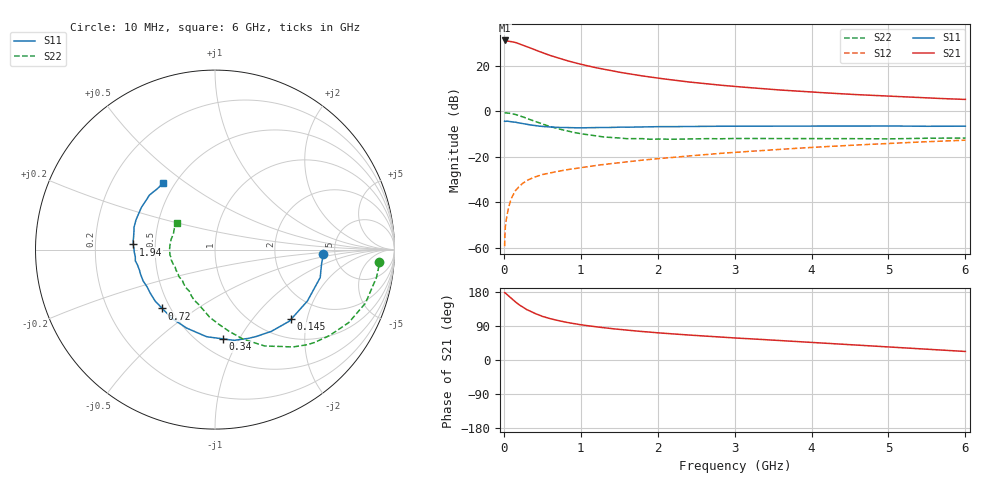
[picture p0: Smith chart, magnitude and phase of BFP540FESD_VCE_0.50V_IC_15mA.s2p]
! Infineon Technologies  Discrete & RF Semiconductors
! BFP540FESD
! VCE = 0.50 V,  IC =  15 mA
! Common Emitter S-Parameters:  Nov 2015
# GHz  S  MA  R  50
!  f  S11  S21  S12  S22
! GHz  MAG  ANG  MAG  ANG  MAG  ANG  MAG  ANG
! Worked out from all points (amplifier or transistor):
!   210 points, 10 MHz to 6 GHz, reference 50 ohm
!   highest |S21| = 31.0 dB at 10 MHz (marker M1)
!   |S21| within 3 dB of that: start of sweep to 321.9 MHz
!   unconditionally stable (mu >= 1): start of sweep to 11.43 MHz; 1.827 GHz to end of sweep
!   at 185 MHz: K = 0.26, MSG = 31.6 dB, |S12| = -33.6 dB
!   at 1.52 GHz: K = 0.94, MSG = 19.7 dB, |S12| = -22.5 dB
!   at 6 GHz: K = 1.16, MAG = 6.5 dB, |S12| = -12.7 dB
!   S11 on the Smith chart (normalised r, x): 10 MHz: 4.03, -0.32; 145 MHz: 1.39, -1.61; 340 MHz: 0.65, -0.86; 720 MHz: 0.45, -0.37; 1.94 GHz: 0.37, +0.03; 6 GHz: 0.43, +0.41
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0.01  0.6047 -2.4  35.56 178.0  0.0011 91.8  0.9186 -4.4
0.02  0.599 -7.6  34.67 176.6  0.003 87.5  0.9224 -3.6
0.05  0.6065 -14.9  34.6 171.1  0.0062 84.1  0.9132 -9.7
0.1  0.5892 -29.1  33.63 161.9  0.0124 78.1  0.8899 -19.6
0.145  0.5748 -42.4  32.31 154.2  0.0175 72.9  0.8522 -27.7
0.2  0.5533 -55.4  30.13 145.6  0.0223 67.9  0.7972 -37.0
0.24  0.5358 -64.6  28.45 140.3  0.0258 65.5  0.7579 -43.1
0.3  0.517 -78.0  26.06 132.8  0.0303 62.2  0.6957 -51.2
0.34  0.4997 -84.7  24.47 129.2  0.0326 60.3  0.6557 -55.4
0.4  0.4876 -95.5  22.3 122.9  0.036 57.9  0.6036 -62.8
0.5  0.4651 -109.7  19.25 115.2  0.0408 54.5  0.5237 -72.5
0.6  0.4528 -121.1  16.71 109.2  0.0445 53.7  0.462 -80.2
0.72  0.4403 -131.9  14.45 103.5  0.0486 52.8  0.4077 -88.6
0.82  0.4384 -140.6  12.87 99.2  0.0522 52.1  0.3708 -95.6
1.02  0.4324 -152.3  10.51 92.5  0.0583 52.1  0.3174 -107.1
1.5  0.4481 -171.9  7.165 80.7  0.0745 51.7  0.2597 -131.9
1.94  0.4562 176.4  5.492 72.8  0.0891 51.2  0.2439 -149.4
2.02  0.4586 174.2  5.257 71.4  0.0914 51.0  0.2455 -151.9
3.1  0.47 158.1  3.381 57.1  0.1284 47.2  0.2524 -174.1
4.1  0.4721 148.7  2.572 45.2  0.1644 41.6  0.2517 172.0
5.1  0.4732 139.1  2.101 33.2  0.1999 33.8  0.2489 158.0
6  0.4694 127.7  1.812 22.5  0.2316 26.4  0.2584 144.9
